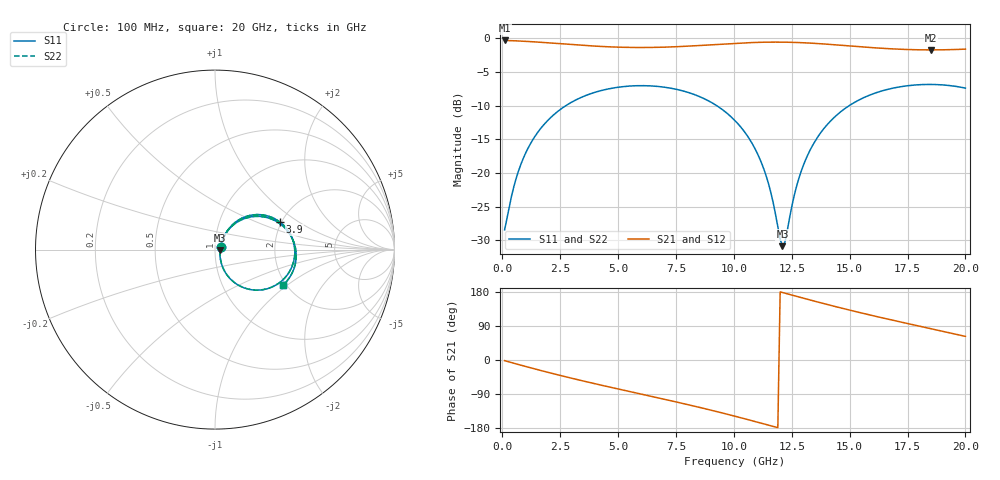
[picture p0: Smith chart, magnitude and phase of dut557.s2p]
! Touchstone file exported from HFSS 2026.1.0
!  File:  C:/ffzhzh/LocalFiles/Ansys_Project_Files/temp_train_TSV_RDL_557_1783116001_46604.aedt
!  Generated:  06:13:01 AM Jul  4, 2026
!  Design:  TSV_RDL
!  Project:  temp_train_TSV_RDL_557_1783116001_46604
! Variables:
!  h_bsmrdl = 2.19um
!  h_ox = 20um
!  h_rdl = 5um
!  h_sub = 99.13um
!  h_tmrdl = 5.73um
!  h_tsv = 99.13um
!  h_via = 3um
!  l_bsmrdl = 745.63um
!  l_sub = 4807.86um
!  l_tmrdl = 518.96um
!  m_sub = 200um
!  pitch = 33.23um
!  r_tsv = 7.96um
!  s_tmrdl = 10um
!  w_bsmrdl = 13.3um
!  w_sub = 500um
!  w_tmrdl = 18.41um
!  x_tsv_center1 = 528.165um
!  x_tsv_center2 = 1287.095um
!  x_tsv_center3 = 1824.465um
!  x_tsv_center4 = 2583.395um
!  x_tsv_center5 = 3120.765um
!  x_tsv_center6 = 3879.695um
# GHz S MA R 50.000000
! Terminal data exported
! Port[1] = TM_RDL1_1_T1
! Port[2] = TM_RDL5_1_T1
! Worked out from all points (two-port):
!   200 points, 100 MHz to 20 GHz, reference 50 ohm
!   highest |S21| = -0.31 dB at 100 MHz (marker M1); lowest = -1.7 dB at 18.5 GHz (marker M2)
!   |S21| within 3 dB of the highest: start of sweep to end of sweep
!   lowest |S11| = -30.9 dB at 12.1 GHz (marker M3), VSWR 1.06, Z = 52.9 - j0.491 ohm
!   |S11| at or under -10 dB: start of sweep to 2.745 GHz; 9.259 GHz to 14.98 GHz (5.722 GHz wide, 47.2 % of centre)
!   |S22| runs from -30.8 to -6.8 dB; largest |S21 - S12| = 1.6e-14
!   S11 on the Smith chart (normalised r, x): 100 MHz: 1.07, +0.03; 3.9 GHz: 1.95, +0.71; 20 GHz: 1.92, -0.93
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0.1  0.03774 21.4  0.9652 -1.8  0.9652 -1.8  0.03774 21.4
! Gamma 0 0 0 0
! Port Impedance 50 0 50 0
0.6  0.09125 55.0  0.9585 -10.3  0.9585 -10.3  0.09125 55.0
1.3  0.1744 54.5  0.9443 -21.9  0.9443 -21.9  0.1744 54.5
2.2  0.2685 44.9  0.9212 -36.1  0.9212 -36.1  0.2685 44.9
3.5  0.3698 28.3  0.8871 -55.5  0.8871 -55.5  0.3698 28.4
3.9  0.3923 23.2  0.8782 -61.2  0.8782 -61.2  0.3922 23.2
5.4  0.4409 4.2  0.8573 -81.9  0.8573 -81.9  0.4409 4.2
6.8  0.4379 -13.4  0.8588 -100.9  0.8588 -100.9  0.4379 -13.4
8.5  0.3703 -35.5  0.885 -124.8  0.885 -124.8  0.3703 -35.4
10.1  0.2397 -56.4  0.9198 -149.2  0.9198 -149.2  0.2397 -56.3
10.8  0.1643 -64.1  0.9315 -160.4  0.9315 -160.4  0.1644 -63.9
11.3  0.1062 -66.5  0.9366 -168.6  0.9366 -168.6  0.1063 -66.2
11.6  0.0712 -63.2  0.9381 -173.6  0.9381 -173.6  0.07134 -62.9
12.1  0.02854 -9.4  0.9378 178.1  0.9378 178.1  0.02896 -9.2
12.2  0.03029 13.7  0.9372 176.4  0.9372 176.4  0.03071 13.5
12.8  0.09017 55.6  0.9311 166.4  0.9311 166.4  0.09035 55.4
13.4  0.1599 54.3  0.9204 156.6  0.9204 156.6  0.16 54.2
14  0.2252 48.1  0.9062 147.0  0.9062 147.0  0.2253 48.0
14.8  0.3011 38.0  0.8844 134.6  0.8844 134.6  0.3012 38.0
16.7  0.4202 13.5  0.8381 107.2  0.8381 107.2  0.4202 13.5
18.5  0.4547 -8.9  0.8211 82.8  0.8211 82.8  0.4547 -8.9
20  0.4269 -27.6  0.8321 62.3  0.8321 62.3  0.4269 -27.5
